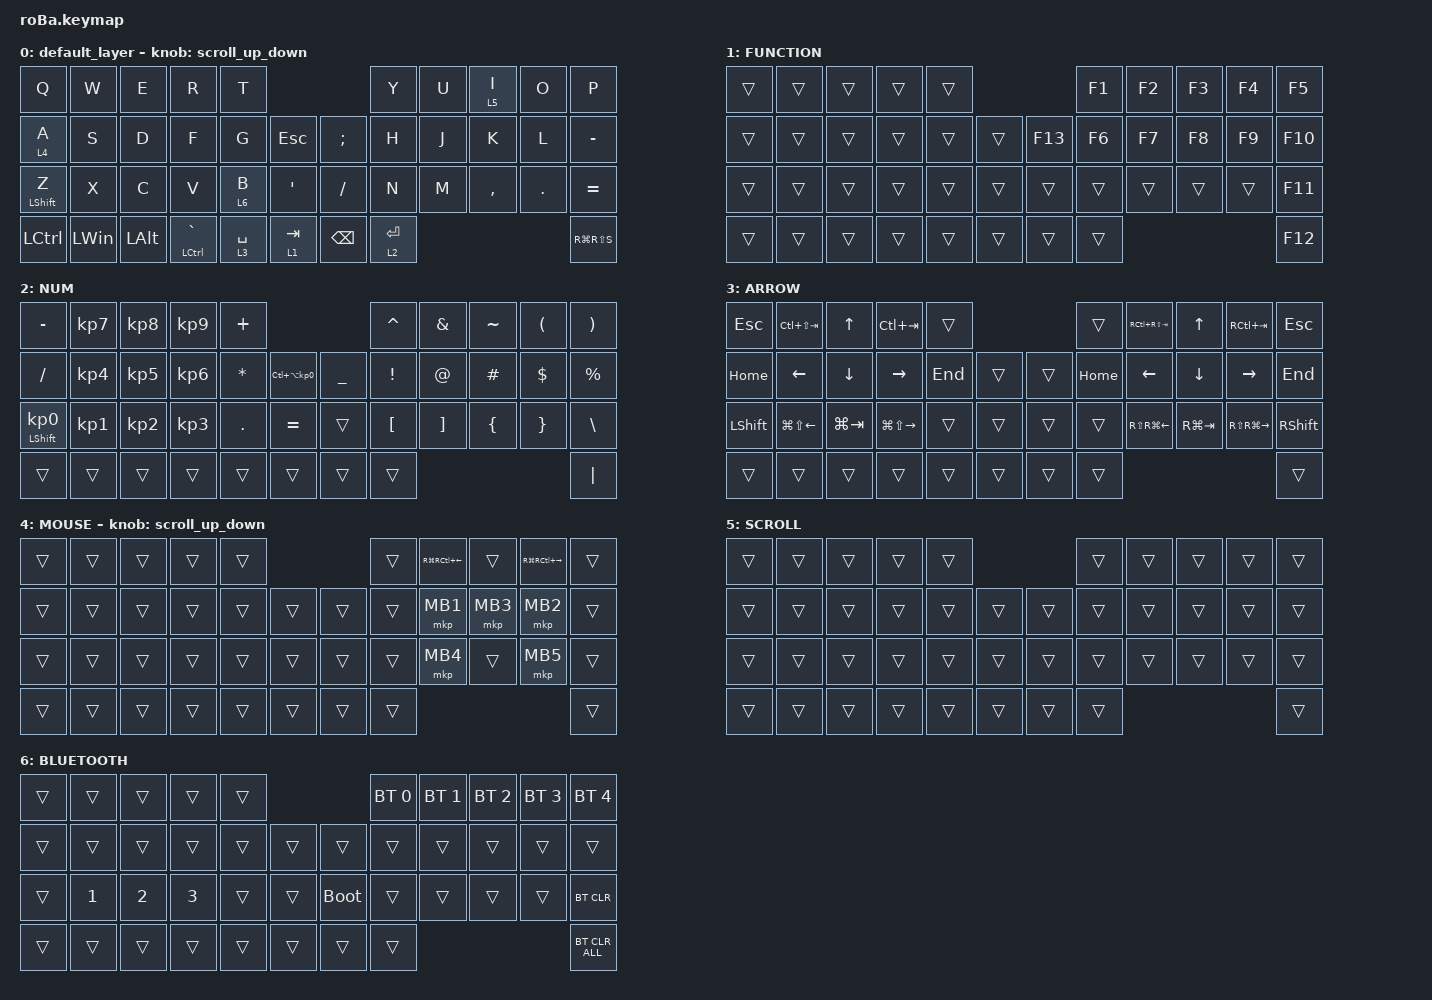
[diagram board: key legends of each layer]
#include <behaviors.dtsi>
#include <dt-bindings/zmk/bt.h>
#include <dt-bindings/zmk/keys.h>
#include <dt-bindings/zmk/pointing.h>

#define ZMK_POINTING_DEFAULT_SCRL_VAL 100

&mt {
    flavor = "balanced";
    quick-tap-ms = <0>;
};

&trackball {
    automouse-layer = <4>;
    scroll-layers = <5>;

    // arrows {
    //     layers = <3>;
    //     bindings =
    //         <&kp RIGHT_ARROW>,
    //         <&kp LEFT_ARROW>,
    //         <&kp UP_ARROW>,
    //         <&kp DOWN_ARROW>;
    //     tick = <10>;
    //     wait-ms = <5>;
    //     tap-ms = <5>;
    // };
};

/ {
    combos {
        compatible = "zmk,combos";

        tab {
            bindings = <&kp TAB>;
            key-positions = <11 12>;
        };

        shift_tab {
            bindings = <&kp LS(TAB)>;
            key-positions = <12 13>;
        };

        muhennkann {
            bindings = <&to_layer_0 INT_MUHENKAN>;
            key-positions = <11 10>;
        };

        double_quotation {
            bindings = <&kp DOUBLE_QUOTES>;
            key-positions = <20 21>;
        };

        eq {
            bindings = <&kp EQUAL>;
            key-positions = <24 25>;
        };
    };

    macros {
        to_layer_0: to_layer_0 {
            compatible = "zmk,behavior-macro-one-param";
            #binding-cells = <1>;
            bindings = <&to 0 &macro_param_1to1 &kp MACRO_PLACEHOLDER>;
            label = "TO_LAYER_0";
        };
    };

    behaviors {
        lt_to_layer_0: lt_to_layer_0 {
            compatible = "zmk,behavior-hold-tap";
            label = "LAYER_TAP_TO_0";
            bindings = <&mo>, <&to_layer_0>;

            #binding-cells = <2>;
            tapping-term-ms = <200>;
        };

        scroll_up_down: behavior_sensor_rotate_mouse_wheel_up_down {
            compatible = "zmk,behavior-sensor-rotate";
            #sensor-binding-cells = <0>;
            bindings = <&msc SCRL_DOWN>, <&msc SCRL_UP>;

            tap-ms = <20>;
        };
    };

    keymap {
        compatible = "zmk,keymap";

        default_layer {
            bindings = <
&kp Q               &kp W         &kp E         &kp R                   &kp T                                      &kp Y        &kp U  &lt 5 I    &kp O    &kp P
&lt_to_layer_0 4 A  &kp S         &kp D         &kp F                   &kp G        &kp ESC        &kp SEMICOLON  &kp H        &kp J  &kp K      &kp L    &kp MINUS
&mt LEFT_SHIFT Z    &kp X         &kp C         &kp V                   &lt 6 B      &kp SQT        &kp SLASH      &kp N        &kp M  &kp COMMA  &kp DOT  &kp EQUAL
&kp LCTRL           &kp LEFT_WIN  &kp LEFT_ALT  &mt LEFT_CONTROL GRAVE  &lt 3 SPACE  &lt 1 TAB      &kp BACKSPACE  &lt 2 ENTER                             &kp RG(RS(S))
            >;

            sensor-bindings = <&scroll_up_down>;
        };

        FUNCTION {
            bindings = <
&trans  &trans  &trans  &trans  &trans                       &kp F1  &kp F2  &kp F3  &kp F4  &kp F5
&trans  &trans  &trans  &trans  &trans  &trans      &kp F13  &kp F6  &kp F7  &kp F8  &kp F9  &kp F10
&trans  &trans  &trans  &trans  &trans  &trans      &trans   &trans  &trans  &trans  &trans  &kp F11
&trans  &trans  &trans  &trans  &trans  &trans      &trans   &trans                          &kp F12
            >;
        };

        NUM {
            bindings = <
&kp MINUS                   &kp KP_NUMBER_7  &kp KP_NUMBER_8  &kp KP_NUMBER_9  &kp PLUS                                                   &kp CARET         &kp AMPERSAND      &kp TILDE       &kp LEFT_PARENTHESIS  &kp RIGHT_PARENTHESIS
&kp SLASH                   &kp KP_NUMBER_4  &kp KP_NUMBER_5  &kp KP_NUMBER_6  &kp ASTERISK  &kp LC(LA(KP_NUMBER_0))      &kp UNDERSCORE  &kp EXCLAMATION   &kp AT_SIGN        &kp HASH        &kp DOLLAR            &kp PERCENT
&mt LEFT_SHIFT KP_NUMBER_0  &kp KP_NUMBER_1  &kp KP_NUMBER_2  &kp KP_NUMBER_3  &kp PERIOD    &kp EQUAL                    &trans          &kp LEFT_BRACKET  &kp RIGHT_BRACKET  &kp LEFT_BRACE  &kp RIGHT_BRACE       &kp BACKSLASH
&trans                      &trans           &trans           &trans           &trans        &trans                       &trans          &trans                                                                     &kp PIPE
            >;
        };

        ARROW {
            bindings = <
&kp ESCAPE      &kp LC(LS(TAB))         &kp UP_ARROW    &kp LC(TAB)              &trans                       &trans    &kp RC(RS(TAB))         &kp UP_ARROW    &kp RC(TAB)              &kp ESCAPE
&kp HOME        &kp LEFT_ARROW          &kp DOWN_ARROW  &kp RIGHT_ARROW          &kp END  &trans      &trans  &kp HOME  &kp LEFT_ARROW          &kp DOWN_ARROW  &kp RIGHT_ARROW          &kp END
&kp LEFT_SHIFT  &kp LG(LS(LEFT_ARROW))  &kp LG(TAB)     &kp LG(LS(RIGHT_ARROW))  &trans   &trans      &trans  &trans    &kp RS(RG(LEFT_ARROW))  &kp RG(TAB)     &kp RS(RG(RIGHT_ARROW))  &kp RIGHT_SHIFT
&trans          &trans                  &trans          &trans                   &trans   &trans      &trans  &trans                                                                     &trans
            >;
        };

        MOUSE {
            bindings = <
&trans  &trans  &trans  &trans  &trans                      &trans  &kp RG(RC(LEFT_ARROW))  &trans    &kp RG(RC(RIGHT_ARROW))  &trans
&trans  &trans  &trans  &trans  &trans  &trans      &trans  &trans  &mkp MB1                &mkp MB3  &mkp MB2                 &trans
&trans  &trans  &trans  &trans  &trans  &trans      &trans  &trans  &mkp MB4                &trans    &mkp MB5                 &trans
&trans  &trans  &trans  &trans  &trans  &trans      &trans  &trans                                                             &trans
            >;

            sensor-bindings = <&scroll_up_down>;
        };

        SCROLL {
            bindings = <
&trans  &trans  &trans  &trans  &trans                      &trans  &trans  &trans  &trans  &trans
&trans  &trans  &trans  &trans  &trans  &trans      &trans  &trans  &trans  &trans  &trans  &trans
&trans  &trans  &trans  &trans  &trans  &trans      &trans  &trans  &trans  &trans  &trans  &trans
&trans  &trans  &trans  &trans  &trans  &trans      &trans  &trans                          &trans
            >;
        };

        BLUETOOTH {
            bindings = <
&trans  &trans        &trans        &trans        &trans                           &bt BT_SEL 0  &bt BT_SEL 1  &bt BT_SEL 2  &bt BT_SEL 3  &bt BT_SEL 4
&trans  &trans        &trans        &trans        &trans  &trans      &trans       &trans        &trans        &trans        &trans        &trans
&trans  &kp NUMBER_1  &kp NUMBER_2  &kp NUMBER_3  &trans  &trans      &bootloader  &trans        &trans        &trans        &trans        &bt BT_CLR
&trans  &trans        &trans        &trans        &trans  &trans      &trans       &trans                                                  &bt BT_CLR_ALL
            >;
        };
    };
};
